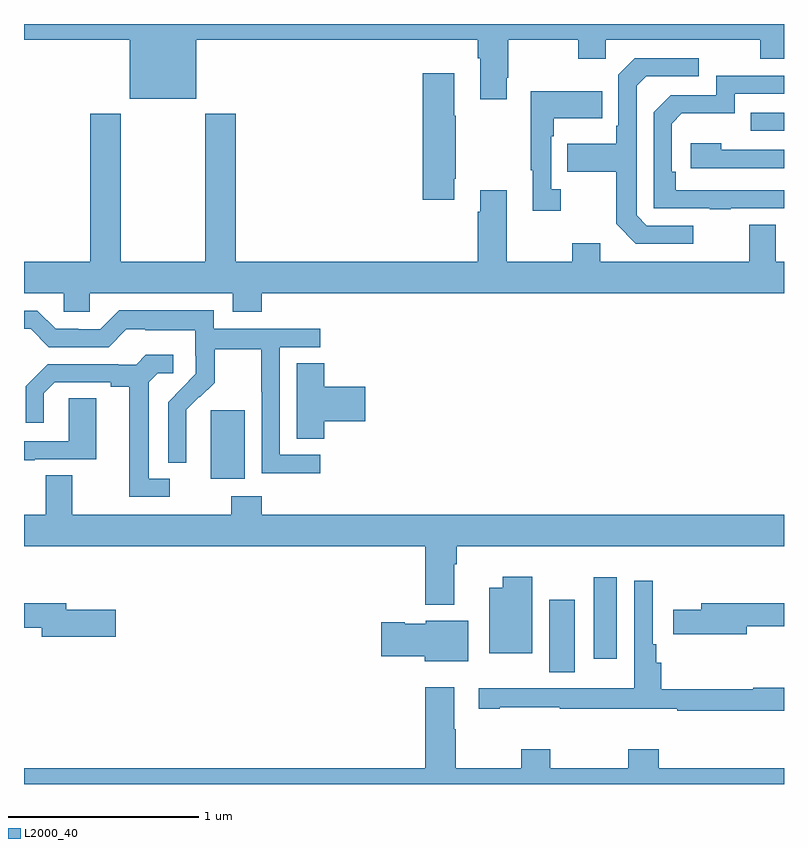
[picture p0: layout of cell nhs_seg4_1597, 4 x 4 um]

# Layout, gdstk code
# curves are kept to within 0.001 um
import gdstk
lib = gdstk.Library(unit=1e-6, precision=1e-09)
def R(c, l, rs):  # rectangles x0, y0, x1, y1
    for r in rs: c.add(gdstk.rectangle(r[:2], r[2:], *l))
def P(c, l, *ps):  # polygons
    for p in ps: c.add(gdstk.Polygon(p, *l))
L2000_40 = (2000, 40)

nhs_seg4_1597 = lib.new_cell('nhs_seg4_1597')
R(nhs_seg4_1597, L2000_40, [(195.764,797.488,195.898,797.869), (195.998,797.559,196.12,797.989), (193.982,798.506,194.161,798.867), (196.825,800.337,197,800.433)])
P(nhs_seg4_1597, L2000_40, [(195.541,800.617),(195.549,800.617),(195.549,800.816),(195.916,800.816),(195.916,800.717),(196.062,800.717),(196.062,800.816),(196.876,800.816),(196.876,800.717),(197,800.717),(197,800.9),(193,800.9),(193,800.816),(193.556,800.816),(193.556,800.507),(193.906,800.507),(193.906,800.816),(195.389,800.816),(195.389,800.72),(195.401,800.72),(195.401,800.505),(195.541,800.505)],
  [(196.522,799.839),(196.278,799.839),(196.224,799.893),(196.224,800.574),(196.275,800.625),(196.552,800.625),(196.552,800.721),(196.215,800.721),(196.128,800.634),(196.128,800.365),(196.116,800.365),(196.116,800.269),(195.859,800.269),(195.859,800.122),(196.116,800.122),(196.116,799.849),(196.221,799.743),(196.522,799.743)],
  [(195.265,800.086),(195.273,800.086),(195.273,800.417),(195.265,800.417),(195.265,800.641),(195.098,800.641),(195.098,799.974),(195.265,799.974)],
  [(196.721,799.929),(197,799.929),(197,800.025),(196.43,800.025),(196.43,800.122),(196.41,800.122),(196.41,800.376),(196.463,800.429),(196.74,800.429),(196.74,800.532),(197,800.532),(197,800.628),(196.644,800.628),(196.644,800.526),(196.404,800.526),(196.314,800.436),(196.314,799.929),(196.609,799.929),(196.609,799.924),(196.721,799.924)],
  [(195.826,800.03),(195.774,800.03),(195.774,800.309),(195.787,800.309),(195.787,800.405),(196.043,800.405),(196.043,800.545),(195.666,800.545),(195.666,800.129),(195.677,800.129),(195.677,799.917),(195.826,799.917)],
  [(194.252,799.484),(197,799.484),(197,799.648),(196.957,799.648),(196.957,799.843),(196.817,799.843),(196.817,799.648),(196.033,799.648),(196.033,799.747),(195.886,799.747),(195.886,799.648),(195.541,799.648),(195.541,800.026),(195.401,800.026),(195.401,799.913),(195.389,799.913),(195.389,799.648),(194.114,799.648),(194.114,800.428),(193.954,800.428),(193.954,799.648),(193.509,799.648),(193.509,800.428),(193.349,800.428),(193.349,799.648),(193,799.648),(193,799.484),(193.209,799.484),(193.209,799.386),(193.347,799.386),(193.347,799.484),(194.099,799.484),(194.099,799.385),(194.252,799.385)],
  [(197,800.238),(196.67,800.238),(196.67,800.272),(196.509,800.272),(196.509,800.142),(197,800.142)],
  [(194.56,798.633),(194.346,798.633),(194.346,799.2),(194.56,799.2),(194.56,799.296),(193.998,799.296),(193.998,799.393),(193.501,799.393),(193.401,799.293),(193.286,799.293),(193.286,799.296),(193.167,799.296),(193.071,799.392),(193,799.392),(193,799.296),(193.035,799.296),(193.131,799.2),(193.446,799.2),(193.539,799.293),(193.639,799.293),(193.639,799.289),(193.902,799.289),(193.902,799.155),(193.904,799.155),(193.904,799.058),(193.758,798.91),(193.758,798.592),(193.854,798.592),(193.853,798.869),(193.923,798.939),(193.926,798.936),(194.003,799.013),(194.003,799.188),(194.248,799.188),(194.248,798.964),(194.25,798.964),(194.25,798.535),(194.56,798.535)],
  [(193.768,798.507),(193.657,798.507),(193.657,799.015),(193.704,799.062),(193.786,799.062),(193.786,799.159),(193.642,799.159),(193.59,799.107),(193.496,799.107),(193.496,799.11),(193.124,799.11),(193.008,798.994),(193.008,798.801),(193.105,798.801),(193.105,798.957),(193.162,799.014),(193.457,799.014),(193.457,798.992),(193.553,798.992),(193.553,798.411),(193.768,798.411)],
  [(194.579,798.809),(194.797,798.809),(194.797,798.992),(194.579,798.992),(194.579,799.115),(194.435,799.115),(194.435,798.718),(194.579,798.718)],
  [(193.057,798.609),(193.381,798.609),(193.381,798.929),(193.236,798.929),(193.236,798.705),(193,798.705),(193,798.605),(193.057,798.605)],
  [(195.265,798.056),(195.278,798.056),(195.278,798.152),(197,798.152),(197,798.316),(194.252,798.316),(194.252,798.415),(194.092,798.415),(194.092,798.316),(193.255,798.316),(193.255,798.524),(193.115,798.524),(193.115,798.316),(193,798.316),(193,798.152),(195.113,798.152),(195.113,797.843),(195.265,797.843)],
  [(195.676,797.992),(195.521,797.992),(195.521,797.932),(195.449,797.932),(195.449,797.588),(195.676,797.588)],
  [(197,797.407),(196.838,797.407),(196.838,797.399),(196.355,797.399),(196.355,797.539),(196.328,797.539),(196.328,797.635),(196.308,797.635),(196.308,797.971),(196.212,797.971),(196.212,797.404),(196.002,797.404),(196.002,797.403),(195.668,797.403),(195.668,797.405),(195.393,797.405),(195.393,797.295),(195.505,797.295),(195.505,797.305),(195.821,797.305),(195.821,797.295),(196.236,797.295),(196.236,797.297),(196.438,797.297),(196.438,797.286),(197,797.286)],
  [(196.804,797.73),(197,797.73),(197,797.851),(196.565,797.851),(196.565,797.817),(196.416,797.817),(196.416,797.687),(196.804,797.687)],
  [(193.483,797.817),(193.222,797.817),(193.222,797.851),(193,797.851),(193,797.722),(193.094,797.722),(193.094,797.675),(193.483,797.675)],
  [(195.337,797.758),(195.114,797.758),(195.114,797.743),(195.003,797.743),(195.003,797.751),(194.88,797.751),(194.88,797.573),(195.11,797.573),(195.11,797.546),(195.337,797.546)],
  [(197,796.984),(196.34,796.984),(196.34,797.083),(196.18,797.083),(196.18,796.984),(195.771,796.984),(195.771,797.083),(195.616,797.083),(195.616,796.984),(195.273,796.984),(195.273,797.189),(195.265,797.189),(195.265,797.41),(195.113,797.41),(195.113,796.984),(193,796.984),(193,796.9),(197,796.9)])

lib.write_gds('nhs_seg4_1597.gds')
